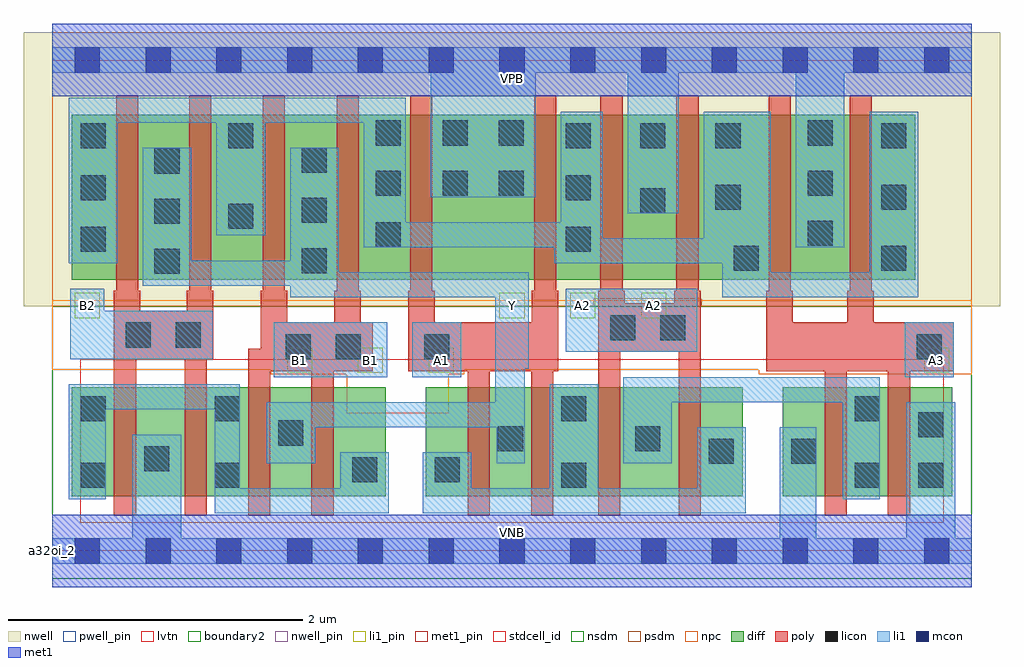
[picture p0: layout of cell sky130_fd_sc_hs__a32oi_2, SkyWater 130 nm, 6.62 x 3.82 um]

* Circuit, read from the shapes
.subckt sky130_fd_sc_hs__a32oi_2 A1 A2 A3 B1 B2 VGND VNB VPB VPWR Y
XM1 VGND B2 n1 VNB sky130_fd_pr__nfet_01v8_lvt w=0.74 l=0.15 m=2
XM2 Y B1 n1 VNB sky130_fd_pr__nfet_01v8_lvt w=0.74 l=0.15 m=2
XM3 Y A1 n2 VNB sky130_fd_pr__nfet_01v8_lvt w=0.74 l=0.15 m=2
XM4 n3 A2 n2 VNB sky130_fd_pr__nfet_01v8_lvt w=0.74 l=0.15 m=2
XM5 n3 A3 VGND VNB sky130_fd_pr__nfet_01v8_lvt w=0.74 l=0.15 m=2
XM6 Y B2 n4 VPB sky130_fd_pr__pfet_01v8 w=1.12 l=0.15 m=2
XM7 Y B1 n4 VPB sky130_fd_pr__pfet_01v8 w=1.12 l=0.15 m=2
XM8 VPWR A1 n4 VPB sky130_fd_pr__pfet_01v8 w=1.12 l=0.15 m=2
XM9 VPWR A2 n4 VPB sky130_fd_pr__pfet_01v8 w=1.12 l=0.15 m=2
XM10 VPWR A3 n4 VPB sky130_fd_pr__pfet_01v8 w=1.12 l=0.15 m=2
.ends

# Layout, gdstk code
import gdstk
lib = gdstk.Library(unit=1e-6, precision=1e-09)
def R(c, l, rs):  # rectangles x0, y0, x1, y1
    for r in rs: c.add(gdstk.rectangle(r[:2], r[2:], *l))
def A(c, l, x, y, w, h, nx, ny, dx, dy):  # array of equal rectangles
    R(c, l, [(x+i*dx, y+j*dy, x+i*dx+w, y+j*dy+h) for i in range(nx) for j in range(ny)])
def P(c, l, *ps):  # polygons
    for p in ps: c.add(gdstk.Polygon(p, *l))
nwell_pin = (64, 16)
nwell = (64, 20)
diff = (65, 20)
poly = (66, 20)
licon = (66, 44)
li1_pin = (67, 16)
li1 = (67, 20)
mcon = (67, 44)
met1_pin = (68, 16)
met1 = (68, 20)
stdcell_id = (81, 4)
nsdm = (93, 44)
psdm = (94, 20)
npc = (95, 20)
pwell_pin = (122, 16)
lvtn = (125, 44)
boundary2 = (236, 0)

sky130_fd_sc_hs__a32oi_2 = lib.new_cell('sky130_fd_sc_hs__a32oi_2')
R(sky130_fd_sc_hs__a32oi_2, nwell_pin, [(0,3.085,6.24,3.33)])
R(sky130_fd_sc_hs__a32oi_2, nwell, [(-0.19,1.66,6.43,3.52)])
R(sky130_fd_sc_hs__a32oi_2, diff, [(0.135,0.37,2.265,1.11), (2.535,0.37,4.685,1.11), (4.955,0.37,6.105,1.11), (0.135,1.84,5.855,2.96)])
P(sky130_fd_sc_hs__a32oi_2, poly, [(6.115,1.55),(5.575,1.55),(5.575,1.765),(5.56,1.765),(5.56,3.09),(5.41,3.09),(5.41,1.765),(5.395,1.765),(5.395,1.55),(5.025,1.55),(5.025,1.765),(5.01,1.765),(5.01,3.09),(4.86,3.09),(4.86,1.765),(4.845,1.765),(4.845,1.22),(5.24,1.22),(5.24,0.24),(5.39,0.24),(5.39,1.22),(5.67,1.22),(5.67,0.24),(5.82,0.24),(5.82,1.22),(6.115,1.22)],
  [(4.4,1.765),(4.385,1.765),(4.385,3.09),(4.235,3.09),(4.235,1.765),(4.22,1.765),(4.22,1.68),(3.885,1.68),(3.885,1.765),(3.87,1.765),(3.87,3.09),(3.72,3.09),(3.72,1.765),(3.705,1.765),(3.705,0.24),(3.855,0.24),(3.855,1.35),(4.25,1.35),(4.25,0.24),(4.4,0.24)],
  [(3.435,1.765),(3.42,1.765),(3.42,3.09),(3.27,3.09),(3.27,1.765),(3.255,1.765),(3.255,1.55),(2.595,1.55),(2.595,1.765),(2.58,1.765),(2.58,3.09),(2.43,3.09),(2.43,1.765),(2.415,1.765),(2.415,1.22),(2.82,1.22),(2.82,0.24),(2.97,0.24),(2.97,1.22),(3.25,1.22),(3.25,0.24),(3.4,0.24),(3.4,1.22),(3.435,1.22)],
  [(2.175,1.55),(2.095,1.55),(2.095,1.765),(2.08,1.765),(2.08,3.09),(1.93,3.09),(1.93,1.765),(1.915,1.765),(1.915,1.55),(1.595,1.55),(1.595,1.765),(1.58,1.765),(1.58,3.09),(1.43,3.09),(1.43,1.765),(1.415,1.765),(1.415,1.37),(1.33,1.37),(1.33,0.24),(1.48,0.24),(1.48,1.22),(1.76,1.22),(1.76,0.24),(1.91,0.24),(1.91,1.22),(2.175,1.22)],
  [(1.095,1.765),(1.08,1.765),(1.08,3.09),(0.93,3.09),(0.93,1.765),(0.915,1.765),(0.915,1.63),(0.6,1.63),(0.6,1.765),(0.585,1.765),(0.585,3.09),(0.435,3.09),(0.435,1.765),(0.42,1.765),(0.42,0.24),(0.57,0.24),(0.57,1.3),(0.9,1.3),(0.9,0.24),(1.05,0.24),(1.05,1.3),(1.095,1.3)])
A(sky130_fd_sc_hs__a32oi_2, licon, 0.695, 1.88, 0.17, 0.17, 1, 3, 0, 0.34)
A(sky130_fd_sc_hs__a32oi_2, licon, 1.695, 1.885, 0.17, 0.17, 1, 3, 0, 0.34)
A(sky130_fd_sc_hs__a32oi_2, licon, 5.625, 1.9, 0.17, 0.17, 1, 3, 0, 0.415)
A(sky130_fd_sc_hs__a32oi_2, licon, 0.195, 2.03, 0.17, 0.17, 1, 3, 0, 0.35)
A(sky130_fd_sc_hs__a32oi_2, licon, 3.485, 2.03, 0.17, 0.17, 1, 3, 0, 0.35)
A(sky130_fd_sc_hs__a32oi_2, licon, 5.125, 2.07, 0.17, 0.17, 1, 3, 0, 0.34)
R(sky130_fd_sc_hs__a32oi_2, licon, [(0.195,0.43,0.365,0.6), (1.105,0.43,1.275,0.6), (3.455,0.43,3.625,0.6), (5.445,0.43,5.615,0.6), (5.875,0.43,6.045,0.6), (2.035,0.465,2.205,0.635), (2.595,0.465,2.765,0.635), (0.625,0.54,0.795,0.71), (4.455,0.59,4.625,0.76), (5.015,0.59,5.185,0.76), (3.025,0.675,3.195,0.845), (3.955,0.675,4.125,0.845), (1.535,0.715,1.705,0.885), (5.875,0.77,6.045,0.94), (0.195,0.88,0.365,1.05), (1.105,0.88,1.275,1.05), (3.455,0.88,3.625,1.05), (5.445,0.88,5.615,1.05), (1.585,1.3,1.755,1.47), (1.925,1.3,2.095,1.47), (2.525,1.3,2.695,1.47), (5.865,1.3,6.035,1.47), (0.5,1.38,0.67,1.55), (0.84,1.38,1.01,1.55), (3.785,1.43,3.955,1.6), (4.125,1.43,4.295,1.6), (4.625,1.9,4.795,2.07), (2.195,2.06,2.365,2.23), (1.195,2.185,1.365,2.355), (3.99,2.29,4.16,2.46), (4.5,2.315,4.67,2.485), (2.195,2.41,2.365,2.58), (2.65,2.41,2.82,2.58), (3.03,2.41,3.2,2.58), (1.195,2.73,1.365,2.9), (3.99,2.73,4.16,2.9), (4.5,2.73,4.67,2.9), (2.195,2.75,2.365,2.92), (2.65,2.75,2.82,2.92), (3.03,2.75,3.2,2.92)])
A(sky130_fd_sc_hs__a32oi_2, li1_pin, 1.595, 1.21, 0.17, 0.17, 3, 1, 0.48, 0)
A(sky130_fd_sc_hs__a32oi_2, li1_pin, 3.035, 1.58, 0.17, 0.17, 3, 1, 0.48, 0)
R(sky130_fd_sc_hs__a32oi_2, li1_pin, [(5.915,1.21,6.085,1.38), (0.155,1.58,0.325,1.75)])
R(sky130_fd_sc_hs__a32oi_2, li1, [(1.505,1.18,2.275,1.55), (2.445,1.18,2.775,1.55), (5.785,1.18,6.115,1.55), (3.485,1.35,4.375,1.78)])
P(sky130_fd_sc_hs__a32oi_2, li1, [(0,-0.085),(0,0.085),(0.545,0.085),(0.545,0.79),(0.875,0.79),(0.875,0.085),(4.935,0.085),(4.935,0.84),(5.185,0.84),(5.185,0.085),(5.795,0.085),(5.795,1.01),(6.125,1.01),(6.125,0.085),(6.24,0.085),(6.24,-0.085)],
  [(0,3.245),(0,3.415),(6.24,3.415),(6.24,3.245),(5.375,3.245),(5.375,2.06),(5.045,2.06),(5.045,3.245),(4.25,3.245),(4.25,2.29),(3.905,2.29),(3.905,3.245),(3.28,3.245),(3.28,2.4),(2.57,2.4),(2.57,3.245)],
  [(0.125,1.3),(0.125,1.78),(0.355,1.78),(0.355,1.63),(1.09,1.63),(1.09,1.3)],
  [(3.015,0.595),(3.015,0.84),(1.785,0.84),(1.785,0.595),(1.455,0.595),(1.455,1.01),(3.005,1.01),(3.005,1.72),(1.615,1.72),(1.615,1.8),(0.615,1.8),(0.615,2.735),(0.945,2.735),(0.945,1.97),(1.615,1.97),(1.615,2.735),(1.945,2.735),(1.945,1.89),(3.235,1.89),(3.235,1.235),(3.205,1.235),(3.205,0.595)],
  [(1.955,0.425),(1.955,0.67),(2.285,0.67),(2.285,0.255),(1.105,0.255),(1.105,0.96),(0.365,0.96),(0.365,0.35),(0.115,0.35),(0.115,1.13),(1.275,1.13),(1.275,0.425)],
  [(3.875,0.595),(3.875,1.18),(5.615,1.18),(5.615,0.35),(5.365,0.35),(5.365,1.01),(4.205,1.01),(4.205,0.595)],
  [(3.375,0.425),(3.375,1.13),(3.705,1.13),(3.705,0.425),(4.375,0.425),(4.375,0.84),(4.705,0.84),(4.705,0.255),(2.515,0.255),(2.515,0.67),(2.845,0.67),(2.845,0.425)],
  [(1.115,2.14),(1.115,2.905),(0.445,2.905),(0.445,1.95),(0.115,1.95),(0.115,3.075),(2.4,3.075),(2.4,2.23),(3.45,2.23),(3.45,2.98),(3.735,2.98),(3.735,2.12),(4.42,2.12),(4.42,2.98),(4.875,2.98),(4.875,1.89),(5.545,1.89),(5.545,2.98),(5.875,2.98),(5.875,1.72),(4.545,1.72),(4.545,1.95),(3.405,1.95),(3.405,2.06),(2.115,2.06),(2.115,2.905),(1.445,2.905),(1.445,2.14)])
A(sky130_fd_sc_hs__a32oi_2, mcon, 0.155, -0.085, 0.17, 0.17, 13, 2, 0.48, 3.33)
R(sky130_fd_sc_hs__a32oi_2, met1_pin, [(0,0,6.24,0.245), (0,3.085,6.24,3.33)])
R(sky130_fd_sc_hs__a32oi_2, met1, [(0,-0.245,6.24,0.245), (0,3.085,6.24,3.575)])
R(sky130_fd_sc_hs__a32oi_2, stdcell_id, [(0,0,6.24,3.33)])
R(sky130_fd_sc_hs__a32oi_2, nsdm, [(0,-0.19,6.24,1.66)])
P(sky130_fd_sc_hs__a32oi_2, psdm, [(6.24,3.52),(0,3.52),(0,1.66),(3.675,1.66),(3.675,1.71),(4.405,1.71),(4.405,1.66),(6.24,1.66)])
P(sky130_fd_sc_hs__a32oi_2, npc, [(6.24,1.7),(0,1.7),(0,1.23),(1.485,1.23),(1.485,1.2),(2,1.2),(2,0.935),(2.69,0.935),(2.69,1.2),(2.795,1.2),(2.795,1.23),(4.795,1.23),(4.795,1.2),(6.24,1.2)])
R(sky130_fd_sc_hs__a32oi_2, pwell_pin, [(0,0,6.24,0.245)])
R(sky130_fd_sc_hs__a32oi_2, lvtn, [(0.19,0.19,6.05,1.3)])
R(sky130_fd_sc_hs__a32oi_2, boundary2, [(0,0,6.24,3.33)])
sky130_fd_sc_hs__a32oi_2.add(gdstk.Label('a32oi_2', (0,0), layer=83, texttype=44))
sky130_fd_sc_hs__a32oi_2.add(gdstk.Label('VNB', (3.12,0.123), layer=64, texttype=59))
sky130_fd_sc_hs__a32oi_2.add(gdstk.Label('VPB', (3.12,3.208), layer=64, texttype=5))
sky130_fd_sc_hs__a32oi_2.add(gdstk.Label('VPWR', (3.12,3.208), layer=68, texttype=5))
sky130_fd_sc_hs__a32oi_2.add(gdstk.Label('VGND', (3.12,0.123), layer=68, texttype=5))
sky130_fd_sc_hs__a32oi_2.add(gdstk.Label('B2', (0.24,1.665), layer=67, texttype=5))
sky130_fd_sc_hs__a32oi_2.add(gdstk.Label('B1', (1.68,1.295), layer=67, texttype=5))
sky130_fd_sc_hs__a32oi_2.add(gdstk.Label('B1', (2.16,1.295), layer=67, texttype=5))
sky130_fd_sc_hs__a32oi_2.add(gdstk.Label('A3', (6,1.295), layer=67, texttype=5))
sky130_fd_sc_hs__a32oi_2.add(gdstk.Label('A2', (3.6,1.665), layer=67, texttype=5))
sky130_fd_sc_hs__a32oi_2.add(gdstk.Label('A2', (4.08,1.665), layer=67, texttype=5))
sky130_fd_sc_hs__a32oi_2.add(gdstk.Label('A1', (2.64,1.295), layer=67, texttype=5))
sky130_fd_sc_hs__a32oi_2.add(gdstk.Label('Y', (3.12,1.665), layer=67, texttype=5))

lib.write_gds('sky130_fd_sc_hs__a32oi_2.gds')
